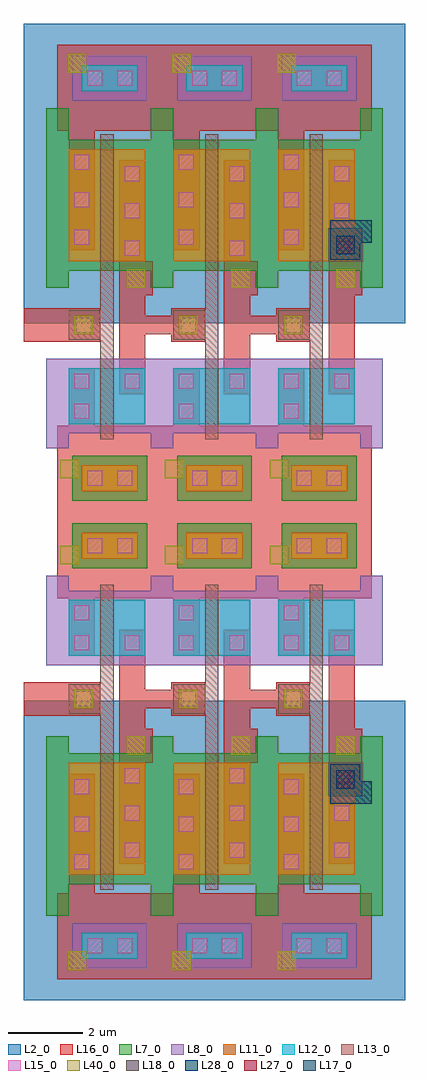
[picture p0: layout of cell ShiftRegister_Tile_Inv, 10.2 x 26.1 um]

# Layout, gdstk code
import gdstk
lib = gdstk.Library(unit=1e-6, precision=1e-09)
def R(c, l, rs):  # rectangles x0, y0, x1, y1
    for r in rs: c.add(gdstk.rectangle(r[:2], r[2:], *l))
def A(c, l, x, y, w, h, nx, ny, dx, dy):  # array of equal rectangles
    R(c, l, [(x+i*dx, y+j*dy, x+i*dx+w, y+j*dy+h) for i in range(nx) for j in range(ny)])
def P(c, l, *ps):  # polygons
    for p in ps: c.add(gdstk.Polygon(p, *l))
L2_0 = (2, 0)
L7_0 = (7, 0)
L8_0 = (8, 0)
L11_0 = (11, 0)
L12_0 = (12, 0)
L13_0 = (13, 0)
L15_0 = (15, 0)
L16_0 = (16, 0)
L17_0 = (17, 0)
L18_0 = (18, 0)
L27_0 = (27, 0)
L28_0 = (28, 0)
L40_0 = (40, 0)

inv0 = lib.new_cell('INV0')
R(inv0, L2_0, [(-1.6,5.05,3,13.05)])
R(inv0, L7_0, [(-0.3,0.3,1.7,1.5)])
P(inv0, L7_0, [(-1,6),(-1,10.8),(-0.4,10.8),(-0.4,9.95),(1.8,9.95),(1.8,10.8),(2.4,10.8),(2.4,6),(1.8,6),(1.8,6.45),(-0.4,6.45),(-0.4,6)])
R(inv0, L8_0, [(-0.3,11,1.7,12.2)])
P(inv0, L8_0, [(-1,1.7),(-1,4.1),(2.4,4.1),(2.4,1.7),(1.8,1.7),(1.8,2.1),(-0.4,2.1),(-0.4,1.7)])
R(inv0, L11_0, [(-0.05,0.55,1.45,1.25), (-0.4,6.7,1.65,9.7)])
R(inv0, L12_0, [(-0.4,2.35,1.65,3.85), (-0.05,11.25,1.45,11.95)])
P(inv0, L13_0, [(0.45,1.95),(0.45,4.6),(-0.4,4.6),(-0.4,5.4),(0.45,5.4),(0.45,10.1),(0.8,10.1),(0.8,1.95)])
A(inv0, L15_0, 1.1, 6.85, 0.4, 0.4, 1, 3, 0, 1)
A(inv0, L15_0, -0.25, 7.15, 0.4, 0.4, 1, 3, 0, 1)
R(inv0, L15_0, [(0.1,0.7,0.5,1.1), (0.9,0.7,1.3,1.1), (-0.25,2.5,0.15,2.9), (-0.25,3.3,0.15,3.7), (1.1,3.3,1.5,3.7), (-0.2,4.8,0.2,5.2), (0.1,11.4,0.5,11.8), (0.9,11.4,1.3,11.8)])
R(inv0, L16_0, [(-0.45,4.55,0.45,5.45)])
P(inv0, L16_0, [(0.95,3.15),(0.95,9.4),(1.65,9.4),(1.65,6.7),(1.85,6.7),(1.85,5.8),(1.65,5.8),(1.65,3.15)],
  [(-0.4,7),(-0.4,10.2),(-0.7,10.2),(-0.7,12.5),(2.1,12.5),(2.1,10.2),(0.3,10.2),(0.3,7)],
  [(-0.7,0),(-0.7,2.3),(-0.4,2.3),(-0.4,3.85),(0.3,3.85),(0.3,2.3),(2.1,2.3),(2.1,0)])
R(inv0, L40_0, [(-0.625,0.9,-0.125,1.4), (-0.25,4.75,0.25,5.25), (1.15,6,1.65,6.5), (-0.425,11.75,0.075,12.25)])
inv0.add(gdstk.Label('VSS', (-0.375,1.15), layer=40, texttype=0))
inv0.add(gdstk.Label('VDD', (-0.175,12), layer=40, texttype=0))
inv0.add(gdstk.Label('I', (0,5), layer=40, texttype=0))
inv0.add(gdstk.Label('ZN', (1.4,6.25), layer=40, texttype=0))

m3_m2_cdns_739384285000 = lib.new_cell('M3_M2_CDNS_739384285000')
R(m3_m2_cdns_739384285000, L18_0, [(-0.45,-0.45,0.45,0.45)])
R(m3_m2_cdns_739384285000, L27_0, [(-0.25,-0.25,0.25,0.25)])
R(m3_m2_cdns_739384285000, L28_0, [(-0.4,-0.4,0.4,0.4)])

m2_m1_cdns_739384285001 = lib.new_cell('M2_M1_CDNS_739384285001')
R(m2_m1_cdns_739384285001, L16_0, [(-0.45,-0.45,0.45,0.45)])
R(m2_m1_cdns_739384285001, L17_0, [(-0.25,-0.25,0.25,0.25)])
R(m2_m1_cdns_739384285001, L18_0, [(-0.45,-0.45,0.45,0.45)])

shiftregister_tile_inv = lib.new_cell('ShiftRegister_Tile_Inv')
shiftregister_tile_inv.add(gdstk.FlexPath([(1.54,8.05),(0,8.05)], 0.9, ends="flush", simple_path=True, layer=16, datatype=0))  # L16_0
shiftregister_tile_inv.add(gdstk.FlexPath([(1.54,18.05),(0,18.05)], 0.9, ends="flush", simple_path=True, layer=16, datatype=0))  # L16_0
shiftregister_tile_inv.add(gdstk.FlexPath([(5.68,18.05),(5.68,18.09)], 0.5, ends=(0.25, 0), simple_path=True, layer=16, datatype=0))  # L16_0
shiftregister_tile_inv.add(gdstk.FlexPath([(7.1,18.05),(5.68,18.05)], 0.5, ends=(0, 0.25), simple_path=True, layer=16, datatype=0))  # L16_0
shiftregister_tile_inv.add(gdstk.FlexPath([(4.4,18.05),(2.87,18.05)], 0.5, ends="flush", simple_path=True, layer=16, datatype=0))  # L16_0
shiftregister_tile_inv.add(gdstk.FlexPath([(7.2,8.05),(5.65,8.05)], 0.5, ends="flush", simple_path=True, layer=16, datatype=0))  # L16_0
shiftregister_tile_inv.add(gdstk.FlexPath([(4.31,8.05),(2.8,8.05)], 0.5, ends="flush", simple_path=True, layer=16, datatype=0))  # L16_0
shiftregister_tile_inv.add(gdstk.FlexPath([(8.2,20.55),(9.3,20.55)], 0.6, ends="flush", simple_path=True, layer=28, datatype=0))  # L28_0
shiftregister_tile_inv.add(gdstk.FlexPath([(8.2,5.55),(9.3,5.55)], 0.6, ends="flush", simple_path=True, layer=28, datatype=0))  # L28_0
r = gdstk.Reference(inv0, (7.2,13.05)); r.repetition = gdstk.Repetition(1, 1, v1=(2.8,0), v2=(0,12.5)); shiftregister_tile_inv.add(r)
r = gdstk.Reference(inv0, (7.2,13.05), x_reflection=True); r.repetition = gdstk.Repetition(1, 1, v1=(2.8,0), v2=(0,-12.5)); shiftregister_tile_inv.add(r)
r = gdstk.Reference(inv0, (4.4,13.05)); r.repetition = gdstk.Repetition(1, 1, v1=(2.8,0), v2=(0,12.5)); shiftregister_tile_inv.add(r)
r = gdstk.Reference(inv0, (4.4,13.05), x_reflection=True); r.repetition = gdstk.Repetition(1, 1, v1=(2.8,0), v2=(0,-12.5)); shiftregister_tile_inv.add(r)
r = gdstk.Reference(inv0, (1.6,13.05), x_reflection=True); r.repetition = gdstk.Repetition(1, 1, v1=(2.8,0), v2=(0,-12.5)); shiftregister_tile_inv.add(r)
r = gdstk.Reference(inv0, (1.6,13.05)); r.repetition = gdstk.Repetition(1, 1, v1=(2.8,0), v2=(0,12.5)); shiftregister_tile_inv.add(r)
shiftregister_tile_inv.add(gdstk.Reference(m3_m2_cdns_739384285000, (8.6,20.19)))
shiftregister_tile_inv.add(gdstk.Reference(m3_m2_cdns_739384285000, (8.6,5.9)))
shiftregister_tile_inv.add(gdstk.Reference(m2_m1_cdns_739384285001, (8.6,20.19)))
shiftregister_tile_inv.add(gdstk.Reference(m2_m1_cdns_739384285001, (8.6,5.9)))

lib.write_gds('ShiftRegister_Tile_Inv.gds')
